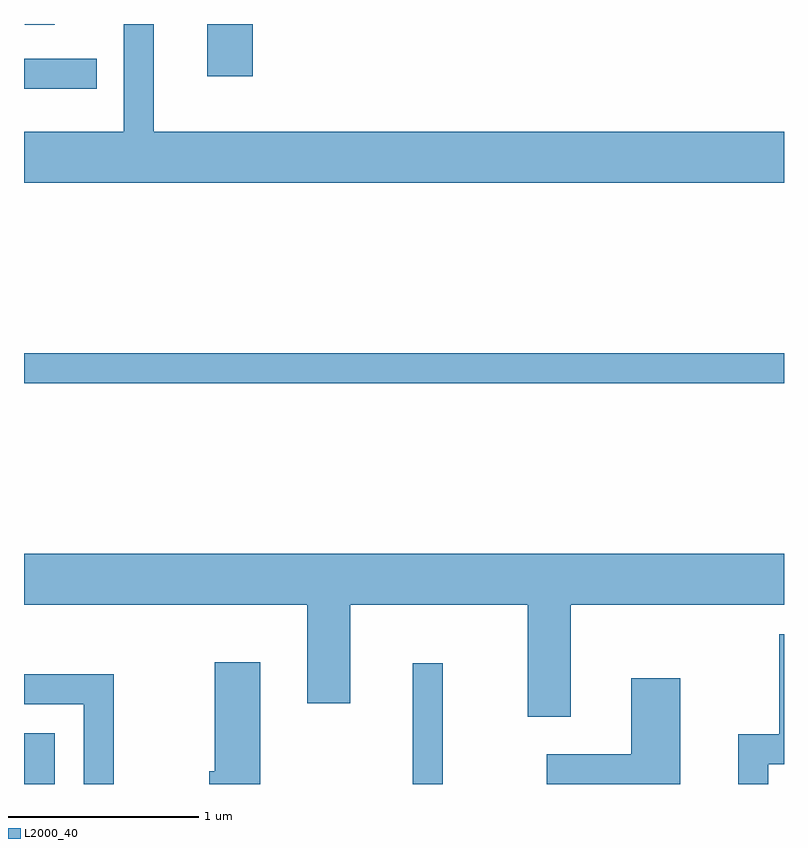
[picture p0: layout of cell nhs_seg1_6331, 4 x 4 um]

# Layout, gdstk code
import gdstk
lib = gdstk.Library(unit=1e-6, precision=1e-09)
def R(c, l, rs):  # rectangles x0, y0, x1, y1
    for r in rs: c.add(gdstk.rectangle(r[:2], r[2:], *l))
def P(c, l, *ps):  # polygons
    for p in ps: c.add(gdstk.Polygon(p, *l))
L2000_40 = (2000, 40)

nhs_seg1_6331 = lib.new_cell('nhs_seg1_6331')
R(nhs_seg1_6331, L2000_40, [(375.611,929.712,375.774,929.979), (377.656,929.712,377.814,930.348), (375.611,931.821,379.611,931.979), (375.611,933.371,375.993,933.529), (376.576,933.436,376.814,933.712), (375.616,933.708,375.774,933.712)])
P(nhs_seg1_6331, L2000_40, [(379.611,933.144),(376.294,933.144),(376.294,933.712),(376.136,933.712),(376.136,933.144),(375.611,933.144),(375.611,932.876),(379.611,932.876)],
  [(378.489,930.656),(379.611,930.656),(379.611,930.924),(375.611,930.924),(375.611,930.656),(377.101,930.656),(377.101,930.136),(377.329,930.136),(377.329,930.656),(378.261,930.656),(378.261,930.066),(378.489,930.066)],
  [(379.529,929.816),(379.611,929.816),(379.611,930.499),(379.586,930.499),(379.586,929.974),(379.371,929.974),(379.371,929.712),(379.529,929.712)],
  [(376.854,930.354),(376.616,930.354),(376.616,929.779),(376.586,929.779),(376.586,929.712),(376.854,929.712)],
  [(376.084,930.289),(375.611,930.289),(375.611,930.131),(375.926,930.131),(375.926,929.712),(376.084,929.712)],
  [(379.064,930.269),(378.806,930.269),(378.806,929.869),(378.363,929.869),(378.363,929.712),(379.064,929.712)])

lib.write_gds('nhs_seg1_6331.gds')
